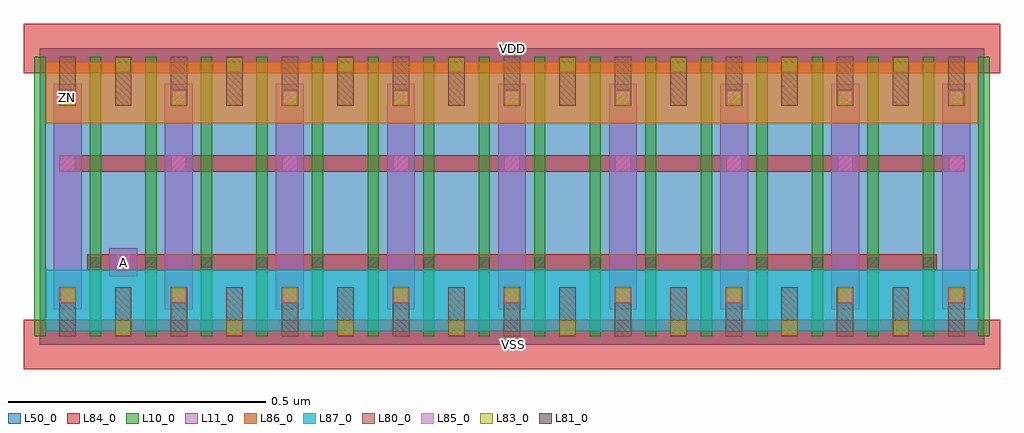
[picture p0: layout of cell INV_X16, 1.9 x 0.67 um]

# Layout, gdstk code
import gdstk
lib = gdstk.Library(unit=1e-6, precision=1e-09)
def R(c, l, rs):  # rectangles x0, y0, x1, y1
    for r in rs: c.add(gdstk.rectangle(r[:2], r[2:], *l))
def A(c, l, x, y, w, h, nx, ny, dx, dy):  # array of equal rectangles
    R(c, l, [(x+i*dx, y+j*dy, x+i*dx+w, y+j*dy+h) for i in range(nx) for j in range(ny)])
L10_0 = (10, 0)
L11_0 = (11, 0)
L50_0 = (50, 0)
L80_0 = (80, 0)
L81_0 = (81, 0)
L83_0 = (83, 0)
L84_0 = (84, 0)
L85_0 = (85, 0)
L86_0 = (86, 0)
L87_0 = (87, 0)

inv_x16 = lib.new_cell('INV_X16')
A(inv_x16, L10_0, -0.011, 0.016, 0.022, 0.544, 5, 1, 0.108, 0)
A(inv_x16, L10_0, 0.529, 0.016, 0.022, 0.544, 4, 1, 0.108, 0)
A(inv_x16, L10_0, 0.961, 0.016, 0.022, 0.544, 4, 1, 0.108, 0)
A(inv_x16, L10_0, 1.393, 0.016, 0.022, 0.544, 5, 1, 0.108, 0)
R(inv_x16, L10_0, [(0.421,0.016,0.443,0.56), (0.529,0.016,0.551,0.56), (0.853,0.016,0.875,0.56), (0.961,0.016,0.983,0.56), (1.285,0.016,1.307,0.56), (1.393,0.016,1.415,0.56)])
A(inv_x16, L11_0, 0.027, 0.069, 0.054, 0.438, 3, 1, 0.216, 0)
A(inv_x16, L11_0, 0.459, 0.069, 0.054, 0.438, 3, 1, 0.216, 0)
A(inv_x16, L11_0, 0.891, 0.069, 0.054, 0.438, 3, 1, 0.216, 0)
A(inv_x16, L11_0, 1.323, 0.069, 0.054, 0.438, 3, 1, 0.216, 0)
R(inv_x16, L11_0, [(0.135,0.133,0.189,0.187)])
R(inv_x16, L50_0, [(0,0,1.836,0.576)])
A(inv_x16, L80_0, 0.038, 0.016, 0.032, 0.096, 5, 2, 0.108, 0.448)
A(inv_x16, L80_0, 0.47, 0.016, 0.032, 0.096, 5, 2, 0.108, 0.448)
A(inv_x16, L80_0, 0.902, 0.016, 0.032, 0.096, 5, 2, 0.108, 0.448)
A(inv_x16, L80_0, 1.334, 0.016, 0.032, 0.096, 5, 2, 0.108, 0.448)
A(inv_x16, L81_0, 0.098, 0.15, 0.02, 0.02, 16, 1, 0.108, 0)
A(inv_x16, L83_0, 0.148, 0.018, 0.028, 0.028, 8, 2, 0.216, 0.512)
A(inv_x16, L83_0, 0.04, 0.082, 0.028, 0.028, 3, 2, 0.216, 0.384)
A(inv_x16, L83_0, 0.472, 0.082, 0.028, 0.028, 3, 2, 0.216, 0.384)
A(inv_x16, L83_0, 0.904, 0.082, 0.028, 0.028, 3, 2, 0.216, 0.384)
A(inv_x16, L83_0, 1.336, 0.082, 0.028, 0.028, 3, 2, 0.216, 0.384)
A(inv_x16, L84_0, -0.031, -0.048, 0.602, 0.096, 4, 2, 0.432, 0.576)
A(inv_x16, L84_0, 0.038, 0.08, 0.032, 0.032, 3, 2, 0.216, 0.384)
A(inv_x16, L84_0, 0.47, 0.08, 0.032, 0.032, 3, 2, 0.216, 0.384)
A(inv_x16, L84_0, 0.902, 0.08, 0.032, 0.032, 3, 2, 0.216, 0.384)
A(inv_x16, L84_0, 1.334, 0.08, 0.032, 0.032, 3, 2, 0.216, 0.384)
A(inv_x16, L84_0, 0.038, 0.336, 0.464, 0.032, 4, 1, 0.432, 0)
R(inv_x16, L84_0, [(0.092,0.144,0.448,0.176), (0.409,0.144,0.88,0.176), (0.851,0.144,1.312,0.176), (1.273,0.144,1.744,0.176)])
A(inv_x16, L85_0, 0.039, 0.081, 0.03, 0.03, 3, 2, 0.216, 0.256)
A(inv_x16, L85_0, 0.471, 0.081, 0.03, 0.03, 3, 2, 0.216, 0.256)
A(inv_x16, L85_0, 0.903, 0.081, 0.03, 0.03, 3, 2, 0.216, 0.256)
A(inv_x16, L85_0, 1.335, 0.081, 0.03, 0.03, 3, 2, 0.216, 0.256)
A(inv_x16, L85_0, 0.039, 0.465, 0.03, 0.03, 3, 1, 0.216, 0)
A(inv_x16, L85_0, 0.471, 0.465, 0.03, 0.03, 3, 1, 0.216, 0)
A(inv_x16, L85_0, 0.903, 0.465, 0.03, 0.03, 3, 1, 0.216, 0)
A(inv_x16, L85_0, 1.335, 0.465, 0.03, 0.03, 3, 1, 0.216, 0)
R(inv_x16, L85_0, [(0.147,0.145,0.177,0.175)])
A(inv_x16, L86_0, 0.011, 0.43, 0.518, 0.12, 4, 1, 0.432, 0)
A(inv_x16, L87_0, 0.011, 0.026, 0.518, 0.12, 4, 1, 0.432, 0)
inv_x16.add(gdstk.Label('VDD', (0.918,0.576), layer=88, texttype=0))
inv_x16.add(gdstk.Label('VSS', (0.921,0), layer=88, texttype=0))
inv_x16.add(gdstk.Label('A', (0.162,0.16), layer=31, texttype=0))
inv_x16.add(gdstk.Label('ZN', (0.054,0.48), layer=31, texttype=0))

lib.write_gds('INV_X16.gds')
